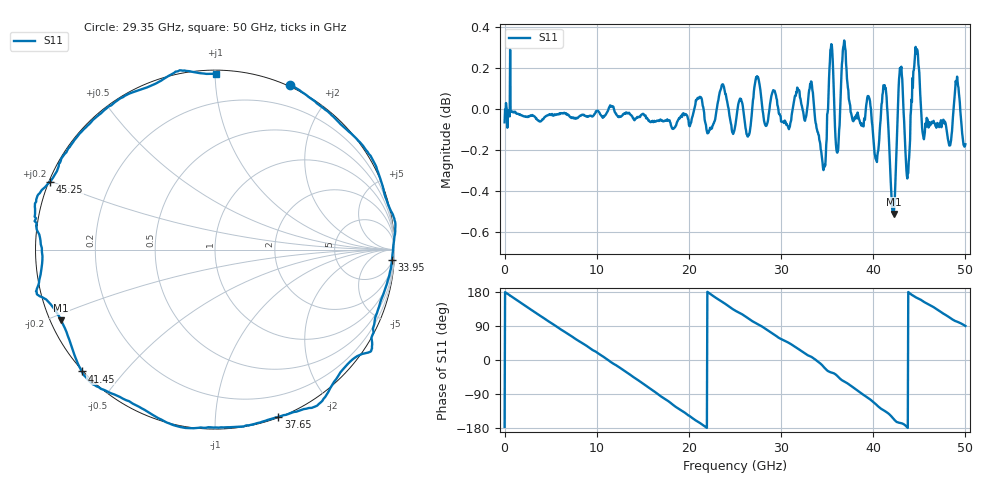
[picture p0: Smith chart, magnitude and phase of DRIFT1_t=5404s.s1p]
!Created with skrf (http://scikit-rf.org).
# Hz S RI R 50.0
!freq ReS11 ImS11
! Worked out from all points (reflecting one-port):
!   1001 points, 300 kHz to 50 GHz, reference 50 ohm
!   lowest |S11| = -0.5 dB at 42.2 GHz (marker M1), VSWR 34.07, Z = 1.54 - j10.9 ohm
!   phase of S11 starts at -177 deg and turns -814 deg over the sweep
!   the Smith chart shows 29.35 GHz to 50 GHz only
!   S11 on the Smith chart (normalised r, x): 29.35 GHz: -0.02, +1.55; 33.95 GHz: 7, -32; 37.65 GHz: 0.01, -1.45; 41.45 GHz: -0.00, -0.39; 45.25 GHz: 0.00, +0.20; 50 GHz: 0.02, +1.00
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300000  -0.9908 -0.0604
1.60029e9  -0.8929 0.4438
3.35028e9  -0.5704 0.8156
6.250262e9  0.1995 0.9774
9.500243e9  0.8885 0.4503
1.115023e10  0.9982 0.0229
1.250022e10  0.9337 -0.3457
1.410022e10  0.6792 -0.7254
1.580021e10  0.246 -0.9619
1.73502e10  -0.2055 -0.9718
1.875019e10  -0.5918 -0.7974
2.160017e10  -0.9917 -0.1238
2.350016e10  -0.9212 0.4183
2.500015e10  -0.6446 0.7513
2.730014e10  -0.1247 1.01
2.935012e10  0.4177 0.9189
3.125011e10  0.7783 0.6276
3.39501e10  0.9856 -0.0587
3.520009e10  0.8754 -0.5169
3.750008e10  0.3958 -0.9206
3.765007e10  0.3524 -0.932
3.950006e10  -0.1909 -0.9889
4.145005e10  -0.7431 -0.6791
4.220005e10  -0.8565 -0.3944
4.375004e10  -0.9644 -0.0128
4.525003e10  -0.9194 0.3794
4.770001e10  -0.5127 0.8492
5e10  0.00317 0.9805
